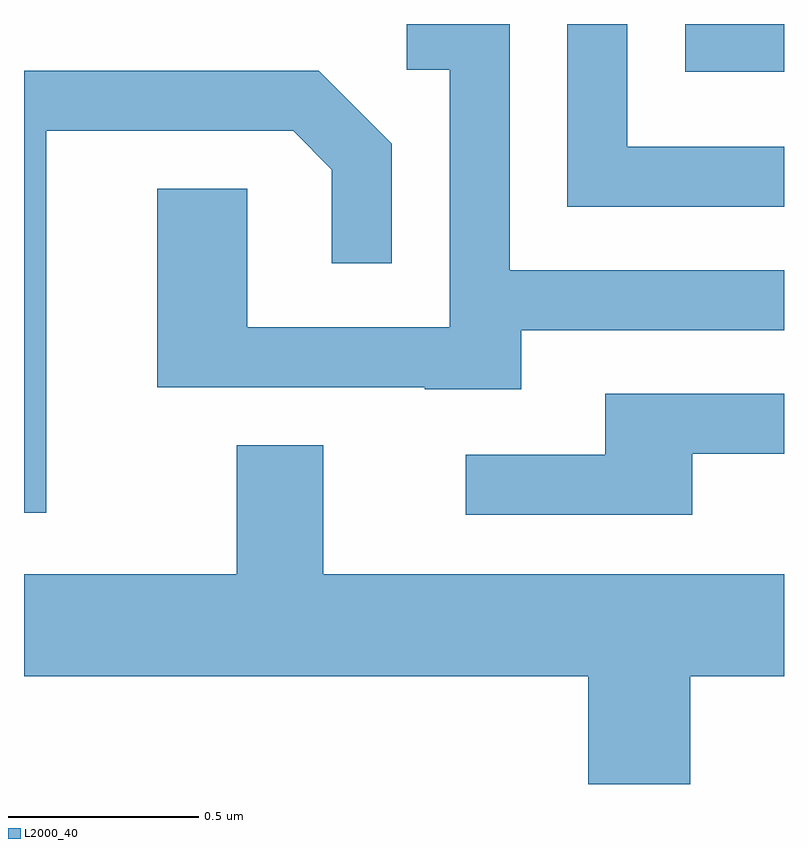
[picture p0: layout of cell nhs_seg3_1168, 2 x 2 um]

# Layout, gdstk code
import gdstk
lib = gdstk.Library(unit=1e-6, precision=1e-09)
def R(c, l, rs):  # rectangles x0, y0, x1, y1
    for r in rs: c.add(gdstk.rectangle(r[:2], r[2:], *l))
def P(c, l, *ps):  # polygons
    for p in ps: c.add(gdstk.Polygon(p, *l))
L2000_40 = (2000, 40)

nhs_seg3_1168 = lib.new_cell('nhs_seg3_1168')
R(nhs_seg3_1168, L2000_40, [(195.351,1189.766,195.611,1189.892)])
P(nhs_seg3_1168, L2000_40, [(194.919,1189.086),(195.611,1189.086),(195.611,1189.244),(194.889,1189.244),(194.889,1189.892),(194.618,1189.892),(194.618,1189.771),(194.731,1189.771),(194.731,1189.094),(194.199,1189.094),(194.199,1189.459),(193.961,1189.459),(193.961,1188.936),(194.665,1188.936),(194.665,1188.931),(194.919,1188.931)],
  [(195.611,1189.569),(195.199,1189.569),(195.199,1189.892),(195.041,1189.892),(195.041,1189.411),(195.611,1189.411)],
  [(193.669,1189.611),(194.319,1189.611),(194.421,1189.509),(194.421,1189.263),(194.579,1189.263),(194.579,1189.577),(194.387,1189.769),(193.611,1189.769),(193.611,1188.606),(193.669,1188.606)],
  [(195.369,1188.761),(195.611,1188.761),(195.611,1188.919),(195.141,1188.919),(195.141,1188.759),(194.773,1188.759),(194.773,1188.601),(195.369,1188.601)],
  [(195.364,1188.176),(195.611,1188.176),(195.611,1188.444),(194.399,1188.444),(194.399,1188.784),(194.171,1188.784),(194.171,1188.444),(193.611,1188.444),(193.611,1188.176),(195.096,1188.176),(195.096,1187.892),(195.364,1187.892)])

lib.write_gds('nhs_seg3_1168.gds')
